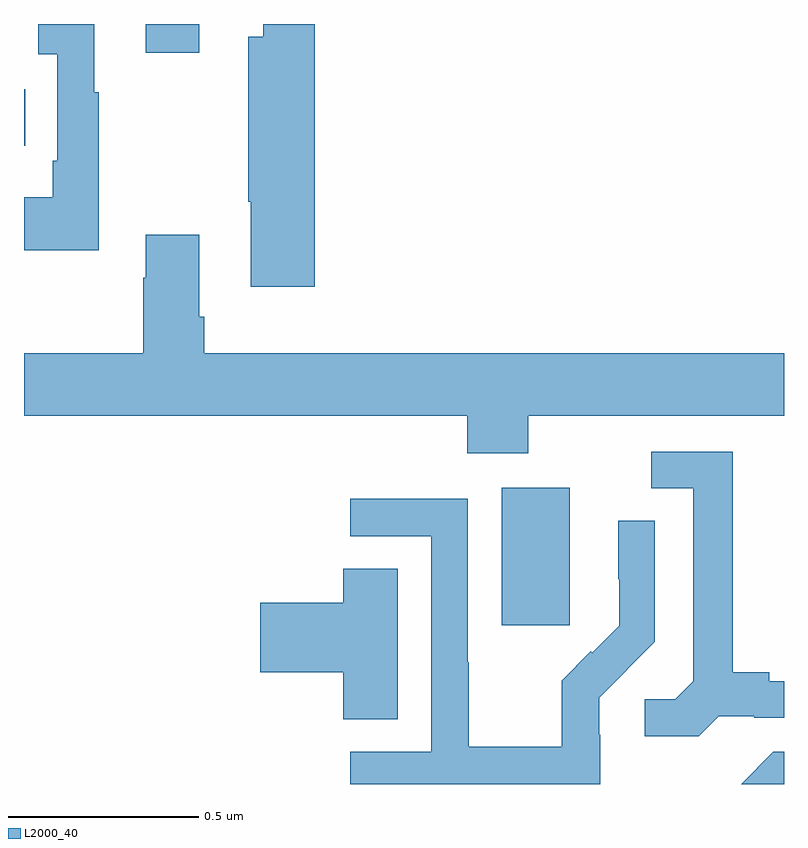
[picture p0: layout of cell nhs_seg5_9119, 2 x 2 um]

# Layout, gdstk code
import gdstk
lib = gdstk.Library(unit=1e-6, precision=1e-09)
def R(c, l, rs):  # rectangles x0, y0, x1, y1
    for r in rs: c.add(gdstk.rectangle(r[:2], r[2:], *l))
def P(c, l, *ps):  # polygons
    for p in ps: c.add(gdstk.Polygon(p, *l))
L2000_40 = (2000, 40)

nhs_seg5_9119 = lib.new_cell('nhs_seg5_9119')
R(nhs_seg5_9119, L2000_40, [(231.257,848.217,231.436,848.578), (230,849.479,230.003,849.627), (230.321,849.723,230.461,849.799)])
P(nhs_seg5_9119, L2000_40, [(230.765,849.799),(230.63,849.799),(230.63,849.766),(230.59,849.766),(230.59,849.331),(230.597,849.331),(230.597,849.108),(230.765,849.108)],
  [(230.197,849.619),(230.185,849.619),(230.185,849.799),(230.037,849.799),(230.037,849.719),(230.088,849.719),(230.088,849.439),(230.076,849.439),(230.076,849.343),(230,849.343),(230,849.203),(230.197,849.203)],
  [(231.327,848.768),(232,848.768),(232,848.932),(230.474,848.932),(230.474,849.028),(230.461,849.028),(230.461,849.244),(230.321,849.244),(230.321,849.131),(230.314,849.131),(230.314,848.932),(230,848.932),(230,848.768),(231.167,848.768),(231.167,848.669),(231.327,848.669)],
  [(231.828,847.977),(231.922,847.977),(231.922,847.974),(232,847.974),(232,848.07),(231.961,848.07),(231.961,848.093),(231.865,848.093),(231.865,848.673),(231.651,848.673),(231.651,848.577),(231.761,848.577),(231.761,848.069),(231.714,848.022),(231.633,848.022),(231.633,847.925),(231.776,847.925)],
  [(231.516,847.929),(231.514,847.929),(231.514,848.026),(231.588,848.1),(231.587,848.101),(231.66,848.174),(231.66,848.492),(231.564,848.492),(231.564,848.338),(231.566,848.338),(231.566,848.216),(231.495,848.145),(231.492,848.148),(231.415,848.071),(231.415,847.897),(231.171,847.897),(231.171,848.12),(231.168,848.12),(231.168,848.55),(230.859,848.55),(230.859,848.451),(231.072,848.451),(231.072,847.884),(230.859,847.884),(230.859,847.799),(231.516,847.799)],
  [(230.983,848.366),(230.84,848.366),(230.84,848.276),(230.622,848.276),(230.622,848.093),(230.84,848.093),(230.84,847.969),(230.983,847.969)],
  [(232,847.884),(231.972,847.884),(231.887,847.799),(232,847.799)])

lib.write_gds('nhs_seg5_9119.gds')
